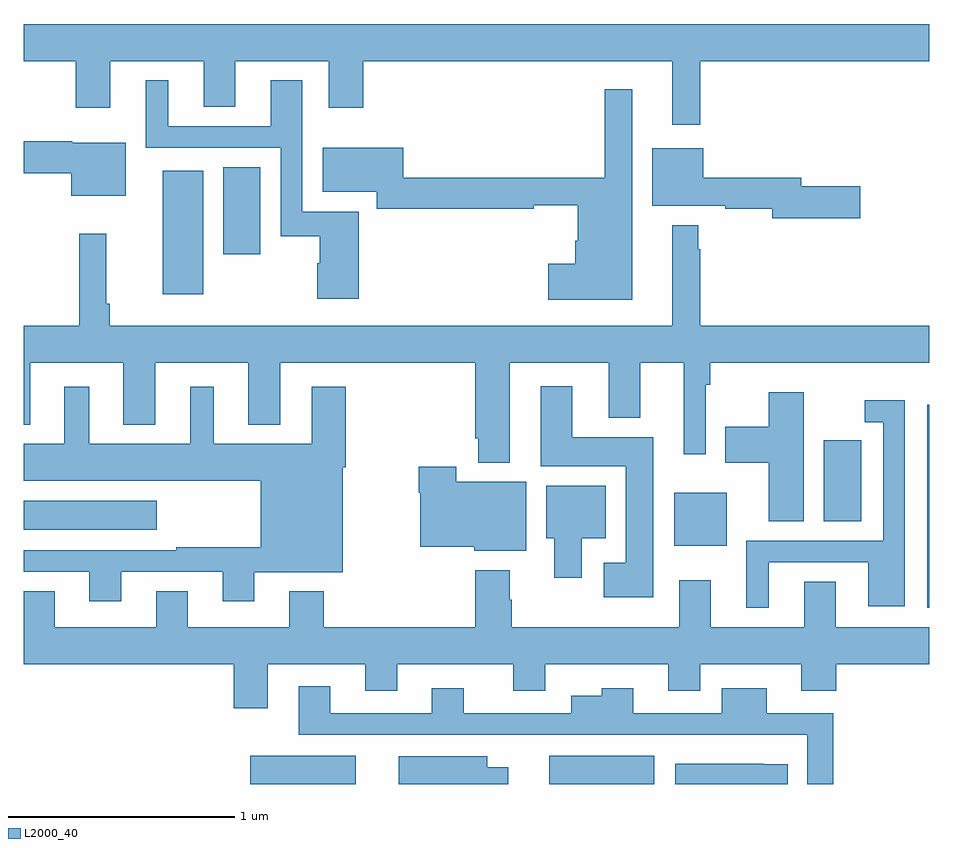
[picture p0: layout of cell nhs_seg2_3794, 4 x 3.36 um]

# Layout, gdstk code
import gdstk
lib = gdstk.Library(unit=1e-6, precision=1e-09)
def R(c, l, rs):  # rectangles x0, y0, x1, y1
    for r in rs: c.add(gdstk.rectangle(r[:2], r[2:], *l))
def P(c, l, *ps):  # polygons
    for p in ps: c.add(gdstk.Polygon(p, *l))
L2000_40 = (2000, 40)

nhs_seg2_3794 = lib.new_cell('nhs_seg2_3794')
R(nhs_seg2_3794, L2000_40, [(312.002,621.8,312.466,621.925), (313.322,621.8,313.786,621.925), (314.99,622.578,315,623.474), (313.874,622.853,314.104,623.086), (311,622.922,311.587,623.05), (314.534,622.96,314.698,623.317), (311.615,623.963,311.794,624.508), (311.882,624.14,312.046,624.524)])
P(nhs_seg2_3794, L2000_40, [(313.987,624.992),(315,624.992),(315,625.156),(311,625.156),(311,624.992),(311.231,624.992),(311.231,624.786),(311.383,624.786),(311.383,624.992),(311.795,624.992),(311.795,624.79),(311.935,624.79),(311.935,624.992),(312.347,624.992),(312.347,624.786),(312.5,624.786),(312.5,624.992),(313.865,624.992),(313.865,624.711),(313.987,624.711)],
  [(312.479,624.327),(312.231,624.327),(312.231,624.907),(312.092,624.907),(312.092,624.705),(311.638,624.705),(311.638,624.907),(311.54,624.907),(311.54,624.609),(312.135,624.609),(312.135,624.219),(312.308,624.219),(312.308,624.099),(312.296,624.099),(312.296,623.942),(312.479,623.942)],
  [(313.687,624.868),(313.566,624.868),(313.566,624.476),(312.676,624.476),(312.676,624.61),(312.32,624.61),(312.32,624.416),(312.56,624.416),(312.56,624.34),(313.252,624.34),(313.252,624.355),(313.448,624.355),(313.448,624.198),(313.436,624.198),(313.436,624.097),(313.317,624.097),(313.317,623.939),(313.687,623.939)],
  [(311.452,624.631),(311.214,624.631),(311.214,624.639),(311,624.639),(311,624.497),(311.21,624.497),(311.21,624.398),(311.452,624.398)],
  [(314.695,624.44),(314.434,624.44),(314.434,624.476),(314.002,624.476),(314.002,624.607),(313.775,624.607),(313.775,624.353),(314.098,624.353),(314.098,624.34),(314.306,624.34),(314.306,624.298),(314.695,624.298)],
  [(313.147,623.66),(313.583,623.66),(313.583,623.417),(313.723,623.417),(313.723,623.66),(313.916,623.66),(313.916,623.256),(314.013,623.256),(314.013,623.564),(314.033,623.564),(314.033,623.66),(315,623.66),(315,623.824),(313.987,623.824),(313.987,624.161),(313.98,624.161),(313.98,624.268),(313.865,624.268),(313.865,623.824),(311.381,623.824),(311.381,623.92),(311.364,623.92),(311.364,624.229),(311.245,624.229),(311.245,623.824),(311,623.824),(311,623.387),(311.029,623.387),(311.029,623.66),(311.441,623.66),(311.441,623.387),(311.581,623.387),(311.581,623.66),(311.993,623.66),(311.993,623.387),(312.133,623.387),(312.133,623.66),(312.995,623.66),(312.995,623.326),(313.007,623.326),(313.007,623.219),(313.147,623.219)],
  [(313.78,623.332),(313.423,623.332),(313.423,623.557),(313.283,623.557),(313.283,623.204),(313.658,623.204),(313.658,622.777),(313.563,622.777),(313.563,622.625),(313.78,622.625)],
  [(311.431,622.737),(311.879,622.737),(311.879,622.608),(312.019,622.608),(312.019,622.736),(312.409,622.736),(312.409,623.198),(312.422,623.198),(312.422,623.554),(312.272,623.554),(312.272,623.302),(311.839,623.302),(311.839,623.554),(311.735,623.554),(311.735,623.302),(311.29,623.302),(311.29,623.554),(311.18,623.554),(311.18,623.302),(311,623.302),(311,623.138),(312.047,623.138),(312.047,622.846),(311.674,622.846),(311.674,622.833),(311,622.833),(311,622.737),(311.291,622.737),(311.291,622.608),(311.431,622.608)],
  [(314.446,623.53),(314.291,623.53),(314.291,623.377),(314.098,623.377),(314.098,623.219),(314.291,623.219),(314.291,622.96),(314.446,622.96)],
  [(314.29,622.779),(314.729,622.779),(314.729,622.586),(314.892,622.586),(314.892,623.494),(314.715,623.494),(314.715,623.397),(314.796,623.397),(314.796,622.875),(314.192,622.875),(314.192,622.578),(314.29,622.578)],
  [(313.219,623.134),(312.91,623.134),(312.91,623.2),(312.745,623.2),(312.745,623.087),(312.752,623.087),(312.752,622.847),(312.99,622.847),(312.99,622.829),(313.219,622.829)],
  [(313.465,622.886),(313.57,622.886),(313.57,623.116),(313.307,623.116),(313.307,622.886),(313.343,622.886),(313.343,622.71),(313.465,622.71)],
  [(312.079,622.328),(312.509,622.328),(312.509,622.211),(312.649,622.211),(312.649,622.328),(313.163,622.328),(313.163,622.211),(313.303,622.211),(313.303,622.328),(313.847,622.328),(313.847,622.211),(313.987,622.211),(313.987,622.328),(314.435,622.328),(314.435,622.211),(314.588,622.211),(314.588,622.328),(315,622.328),(315,622.492),(314.587,622.492),(314.587,622.694),(314.447,622.694),(314.447,622.492),(314.035,622.492),(314.035,622.699),(313.895,622.699),(313.895,622.492),(313.155,622.492),(313.155,622.613),(313.147,622.613),(313.147,622.744),(312.995,622.744),(312.995,622.492),(312.326,622.492),(312.326,622.651),(312.173,622.651),(312.173,622.492),(311.725,622.492),(311.725,622.652),(311.585,622.652),(311.585,622.492),(311.137,622.492),(311.137,622.652),(311,622.652),(311,622.328),(311.927,622.328),(311.927,622.134),(312.079,622.134)],
  [(314.576,622.113),(314.281,622.113),(314.281,622.222),(314.084,622.222),(314.084,622.113),(313.693,622.113),(313.693,622.222),(313.553,622.222),(313.553,622.189),(313.418,622.189),(313.418,622.113),(312.943,622.113),(312.943,622.222),(312.803,622.222),(312.803,622.113),(312.355,622.113),(312.355,622.231),(312.215,622.231),(312.215,622.017),(314.46,622.017),(314.46,621.8),(314.576,621.8)],
  [(313.141,621.874),(313.048,621.874),(313.048,621.922),(312.656,621.922),(312.656,621.8),(313.141,621.8)],
  [(314.375,621.887),(314.267,621.887),(314.267,621.889),(313.877,621.889),(313.877,621.8),(314.375,621.8)])

lib.write_gds('nhs_seg2_3794.gds')
